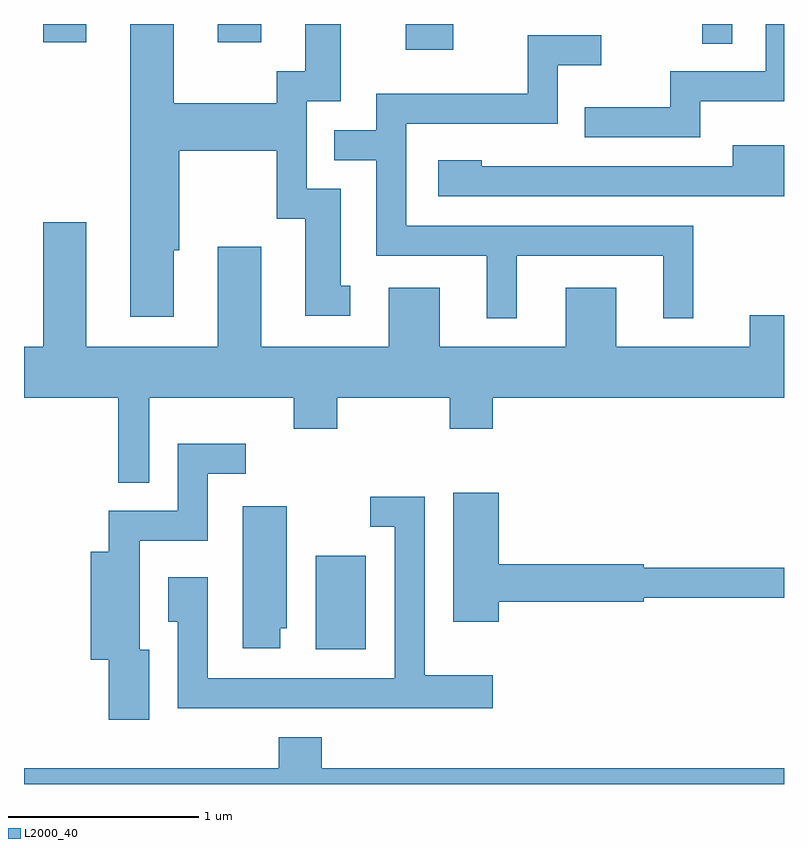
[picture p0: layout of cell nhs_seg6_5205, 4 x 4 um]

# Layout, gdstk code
import gdstk
lib = gdstk.Library(unit=1e-6, precision=1e-09)
def R(c, l, rs):  # rectangles x0, y0, x1, y1
    for r in rs: c.add(gdstk.rectangle(r[:2], r[2:], *l))
def P(c, l, *ps):  # polygons
    for p in ps: c.add(gdstk.Polygon(p, *l))
L2000_40 = (2000, 40)

nhs_seg6_5205 = lib.new_cell('nhs_seg6_5205')
R(nhs_seg6_5205, L2000_40, [(345.146,1610.871,345.409,1611.364), (345.621,1614.026,345.869,1614.162), (347.181,1614.058,347.339,1614.162), (343.711,1614.066,343.939,1614.162), (344.631,1614.066,344.859,1614.162)])
P(nhs_seg6_5205, L2000_40, [(347.169,1613.756),(347.611,1613.756),(347.611,1614.162),(347.516,1614.162),(347.516,1613.914),(347.011,1613.914),(347.011,1613.724),(346.563,1613.724),(346.563,1613.566),(347.169,1613.566)],
  [(344.399,1612.971),(344.429,1612.971),(344.429,1613.496),(344.941,1613.496),(344.941,1613.136),(345.091,1613.136),(345.091,1612.626),(345.328,1612.626),(345.328,1612.784),(345.279,1612.784),(345.279,1613.294),(345.099,1613.294),(345.099,1613.756),(345.279,1613.756),(345.279,1614.162),(345.091,1614.162),(345.091,1613.914),(344.941,1613.914),(344.941,1613.744),(344.399,1613.744),(344.399,1614.162),(344.171,1614.162),(344.171,1612.621),(344.399,1612.621)],
  [(346.204,1612.941),(346.976,1612.941),(346.976,1612.613),(347.134,1612.613),(347.134,1613.099),(345.624,1613.099),(345.624,1613.636),(346.419,1613.636),(346.419,1613.946),(346.648,1613.946),(346.648,1614.104),(346.261,1614.104),(346.261,1613.794),(345.466,1613.794),(345.466,1613.604),(345.243,1613.604),(345.243,1613.446),(345.466,1613.446),(345.466,1612.941),(346.046,1612.941),(346.046,1612.613),(346.204,1612.613)],
  [(347.611,1613.524),(347.341,1613.524),(347.341,1613.414),(346.019,1613.414),(346.019,1613.444),(345.791,1613.444),(345.791,1613.256),(347.611,1613.256)],
  [(345.799,1612.774),(345.531,1612.774),(345.531,1612.464),(344.859,1612.464),(344.859,1612.989),(344.631,1612.989),(344.631,1612.464),(343.939,1612.464),(343.939,1613.119),(343.711,1613.119),(343.711,1612.464),(343.611,1612.464),(343.611,1612.196),(344.106,1612.196),(344.106,1611.748),(344.269,1611.748),(344.269,1612.196),(345.031,1612.196),(345.031,1612.031),(345.259,1612.031),(345.259,1612.196),(345.851,1612.196),(345.851,1612.031),(346.079,1612.031),(346.079,1612.196),(347.611,1612.196),(347.611,1612.629),(347.431,1612.629),(347.431,1612.464),(346.729,1612.464),(346.729,1612.774),(346.461,1612.774),(346.461,1612.464),(345.799,1612.464)],
  [(344.269,1610.869),(344.219,1610.869),(344.219,1611.441),(344.579,1611.441),(344.579,1611.796),(344.778,1611.796),(344.778,1611.954),(344.421,1611.954),(344.421,1611.599),(344.056,1611.599),(344.056,1611.384),(343.961,1611.384),(343.961,1610.816),(344.056,1610.816),(344.056,1610.501),(344.269,1610.501)],
  [(346.109,1611.121),(346.874,1611.121),(346.874,1611.141),(347.611,1611.141),(347.611,1611.299),(346.874,1611.299),(346.874,1611.319),(346.109,1611.319),(346.109,1611.694),(345.871,1611.694),(345.871,1611.016),(346.109,1611.016)],
  [(346.079,1610.734),(345.719,1610.734),(345.719,1611.674),(345.433,1611.674),(345.433,1611.516),(345.561,1611.516),(345.561,1610.719),(344.579,1610.719),(344.579,1611.249),(344.371,1611.249),(344.371,1611.016),(344.421,1611.016),(344.421,1610.561),(346.079,1610.561)],
  [(344.959,1610.981),(344.994,1610.981),(344.994,1611.624),(344.761,1611.624),(344.761,1610.876),(344.959,1610.876)],
  [(347.611,1610.244),(345.179,1610.244),(345.179,1610.409),(344.951,1610.409),(344.951,1610.244),(343.611,1610.244),(343.611,1610.162),(347.611,1610.162)])

lib.write_gds('nhs_seg6_5205.gds')
